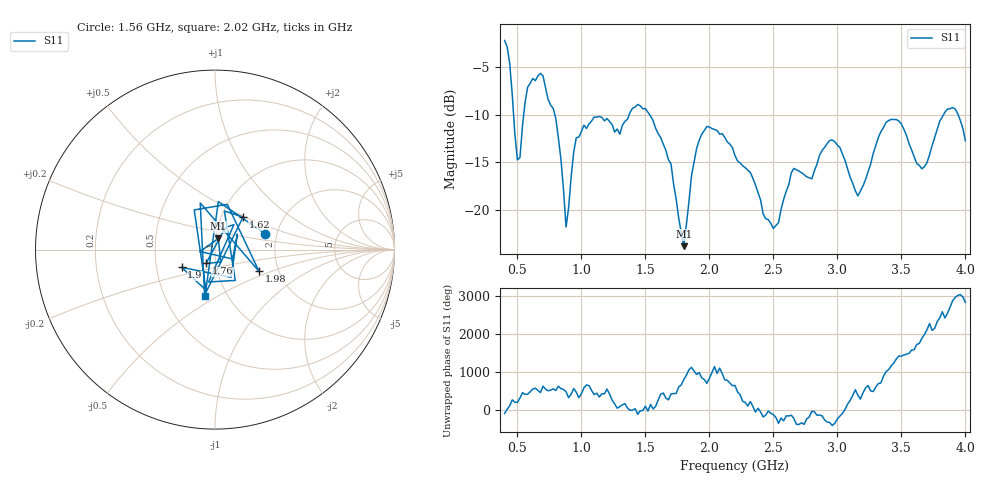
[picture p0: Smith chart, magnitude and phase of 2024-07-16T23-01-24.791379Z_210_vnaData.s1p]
!Created with skrf (http://scikit-rf.org).
# Hz S RI R 50.0
!freq ReS11 ImS11
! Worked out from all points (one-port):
!   181 points, 400 MHz to 4 GHz, reference 50 ohm
!   lowest |S11| = -23.7 dB at 1.8 GHz (marker M1), VSWR 1.14, Z = 51.5 + j6.44 ohm
!   |S11| at or under -10 dB: 470.1 MHz to 549.5 MHz (79.39 MHz wide, 15.6 % of centre); 792.3 MHz to 1.373 GHz (581.2 MHz wide, 53.7 % of centre); 1.532 GHz to 3.83 GHz (2.297 GHz wide, 85.7 % of centre) (the widest 3 of 4)
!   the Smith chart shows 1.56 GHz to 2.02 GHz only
!   S11 on the Smith chart (normalised r, x): 1.56 GHz: 1.74, +0.33; 1.62 GHz: 1.27, +0.49; 1.76 GHz: 0.90, -0.14; 1.9 GHz: 0.68, -0.14; 1.98 GHz: 1.58, -0.42; 2.02 GHz: 0.78, -0.44
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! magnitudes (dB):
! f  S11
! 400 MHz  -2.3
! 500 MHz  -14.7
! 580 MHz  -7.1
! 680 MHz  -5.7
! 800 MHz  -10.4
! 860 MHz  -17.8
! 880 MHz  -21.7
! 940 MHz  -13.9
! 1.02 GHz  -11.1
! 1.3 GHz  -12.0
! 1.56 GHz  -10.6
! 1.62 GHz  -12.4
! 1.76 GHz  -20.8
! 1.8 GHz  -23.7
! 1.9 GHz  -13.5
! 1.98 GHz  -11.2
! 2.02 GHz  -11.5
! 2.2 GHz  -14.3
! 2.5 GHz  -21.9
! 2.66 GHz  -15.6
! 2.96 GHz  -12.7
! 3.1 GHz  -16.6
! 3.16 GHz  -18.5
! 3.4 GHz  -10.6
! 3.56 GHz  -13.0
! 3.68 GHz  -15.4
! 3.9 GHz  -9.3
! 4 GHz  -12.7
